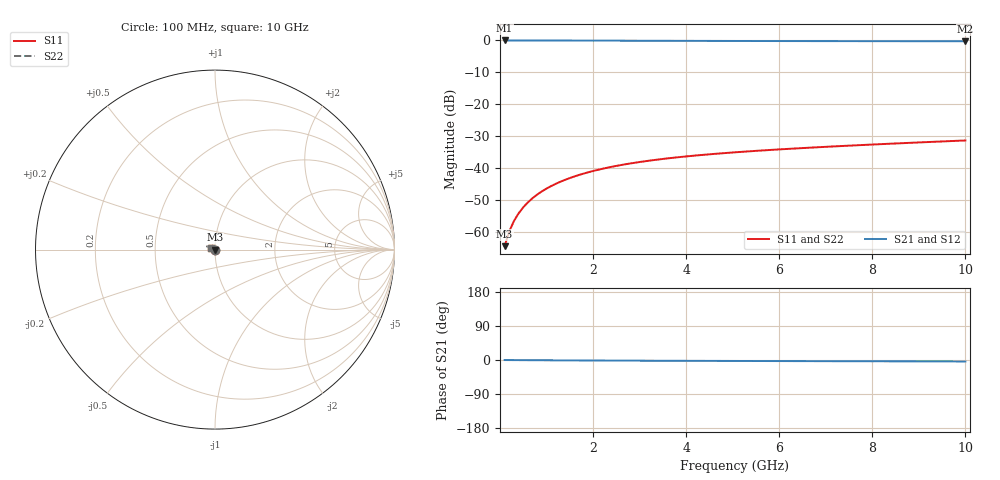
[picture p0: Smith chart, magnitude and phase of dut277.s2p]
! Touchstone file exported from HFSS 2024.1.0
!  File:  C:/UserFiles/LocalFiles/RDL_TSV_Batchsim/temp_TSV1_277_1779392856.aedt
!  Generated:  03:56:31 AM May 22, 2026
!  Design:  TSV1
!  Project:  temp_TSV1_277_1779392856
!  Setup:  Setup1
!  Solution:  Sweep
! Variables:
!  dtsv = 5.56um
!  hbump = 3um
!  htsv = 56.34um
!  lrdl = 252.1521522um
!  p = 40
!  p1 = 42.22um
!  t = 500um
!  trdl = 3um
!  wrdl = 24.89489489um
# GHz S MA R 50.000000
! Terminal data exported
! Port[1] = TSV22_T1
! Port[2] = TSV22_T2
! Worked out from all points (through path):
!   100 points, 100 MHz to 10 GHz, reference 50 ohm
!   highest |S21| = 0.00 dB at 100 MHz (marker M1); lowest = -0.2 dB at 10 GHz (marker M2)
!   lowest |S11| = -64.4 dB at 100 MHz (marker M3), VSWR 1.00, Z = 50 - j0.0492 ohm
!   |S11| at or under -10 dB: start of sweep to end of sweep
!   |S22| runs from -64.4 to -31.3 dB; largest |S21 - S12| = 6.5e-15
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0.1  0.0006028 -54.6  0.9996 -0.1  0.9996 -0.1  0.0006028 -54.6
! Gamma 0 0 0 0
! Port Impedance 50 0 50 0
0.2  0.001026 -73.5  0.9996 -0.2  0.9996 -0.2  0.001026 -73.5
0.3  0.001489 -82.4  0.9995 -0.2  0.9995 -0.2  0.001489 -82.4
0.4  0.001964 -87.9  0.9993 -0.3  0.9993 -0.3  0.001964 -87.9
0.5  0.002443 -91.9  0.9992 -0.4  0.9992 -0.4  0.002443 -91.9
0.6  0.002922 -95.3  0.999 -0.4  0.999 -0.4  0.002922 -95.3
0.7  0.003399 -98.2  0.9987 -0.5  0.9987 -0.5  0.003399 -98.2
0.8  0.003871 -100.8  0.9985 -0.6  0.9985 -0.6  0.003871 -100.8
0.9  0.004339 -103.3  0.9982 -0.7  0.9982 -0.7  0.004339 -103.3
1.1  0.005258 -107.9  0.9976 -0.8  0.9976 -0.8  0.005258 -107.9
1.4  0.006588 -114.1  0.9965 -1.0  0.9965 -1.0  0.006588 -114.1
1.6  0.007438 -118.1  0.9956 -1.1  0.9956 -1.1  0.007438 -118.1
1.8  0.008257 -121.8  0.9948 -1.2  0.9948 -1.2  0.008257 -121.8
2.1  0.009425 -127.2  0.9934 -1.4  0.9934 -1.4  0.009425 -127.2
2.5  0.01087 -134.0  0.9915 -1.6  0.9915 -1.6  0.01087 -134.0
2.9  0.01219 -140.3  0.9897 -1.8  0.9897 -1.8  0.01219 -140.3
3.4  0.01369 -147.5  0.9874 -2.0  0.9874 -2.0  0.01369 -147.5
4.2  0.0158 -157.9  0.9841 -2.3  0.9841 -2.3  0.0158 -157.9
5.1  0.01785 -168.0  0.981 -2.6  0.981 -2.6  0.01785 -168.0
6.7  0.02106 177.3  0.977 -3.0  0.977 -3.0  0.02106 177.3
8.4  0.02422 165.0  0.974 -3.5  0.974 -3.5  0.02422 165.0
10  0.0272 155.8  0.972 -3.9  0.972 -3.9  0.0272 155.8
